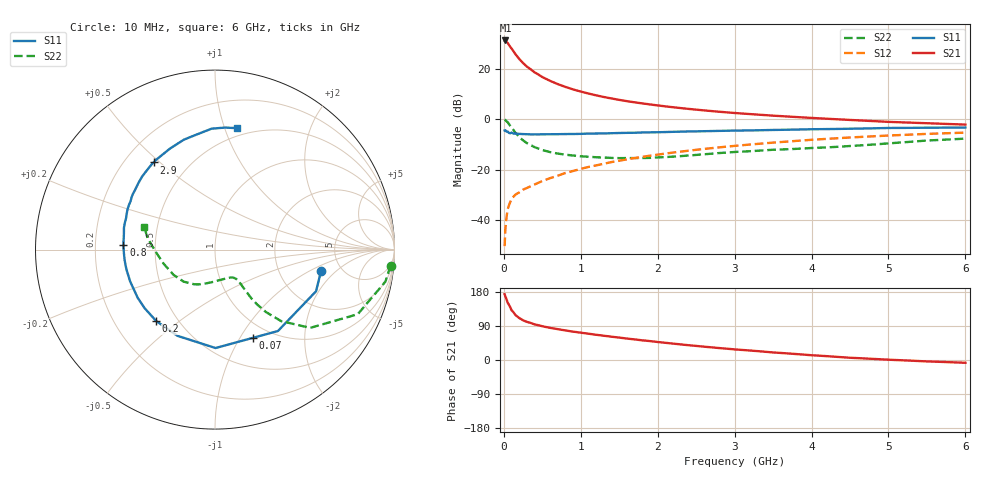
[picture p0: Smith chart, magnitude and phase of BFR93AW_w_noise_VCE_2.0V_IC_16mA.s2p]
! Infineon Technologies  Discrete & RF Semiconductors
! BFR93AW
! VCE =  2.0 V,  IC =  16 mA
! Common Emitter S-Parameters:  Jan 2017
# GHz  S  MA  R  50
!  f  S11  S21  S12  S22
! GHz  MAG  ANG  MAG  ANG  MAG  ANG  MAG  ANG
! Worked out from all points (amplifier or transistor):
!   77 points, 10 MHz to 6 GHz, reference 50 ohm
!   highest |S21| = 31.2 dB at 20 MHz (marker M1)
!   |S21| within 3 dB of that: start of sweep to 95.23 MHz
!   unconditionally stable (mu >= 1): 655.2 MHz to 2.229 GHz
!   at 130 MHz: K = 0.42, MSG = 28.6 dB, |S12| = -30.5 dB
!   at 2.2 GHz: K = 1.00, MAG = 8.7 dB, |S12| = -13.1 dB
!   at 6 GHz: K = 0.91, MSG = 1.6 dB, |S12| = -5.3 dB
!   lowest NFmin = 1.41 dB at 450 MHz
!   S11 on the Smith chart (normalised r, x): 10 MHz: 3.52, -1.30; 70 MHz: 0.83, -1.14; 200 MHz: 0.38, -0.41; 800 MHz: 0.32, +0.02; 2.9 GHz: 0.32, +0.48; 6 GHz: 0.43, +1.10
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0.01  0.6029 -11.2  36.23 173.7  0.0031 90.7  0.9826 -5.2
0.02  0.609 -22.4  36.26 167.7  0.0067 85.0  0.9663 -10.6
0.05  0.5733 -52.3  32.33 151.1  0.0166 69.2  0.8733 -24.3
0.07  0.5351 -66.7  29.05 144.4  0.0205 63.9  0.7925 -29.5
0.1  0.5484 -89.7  25.13 131.3  0.0265 58.9  0.6868 -39.4
0.15  0.524 -113.5  19.5 118.9  0.0324 53.9  0.5439 -47.2
0.2  0.5155 -129.4  15.62 110.8  0.0359 53.9  0.4489 -50.8
0.25  0.5102 -140.3  12.97 104.8  0.0407 53.4  0.384 -52.5
0.3  0.5074 -148.2  11.02 100.6  0.0439 54.4  0.3376 -53.3
0.4  0.5049 -159.5  8.484 93.9  0.0514 57.6  0.281 -53.3
0.5  0.5057 -167.5  6.858 89.1  0.0601 59.9  0.2471 -53.2
0.6  0.5071 -173.5  5.774 84.9  0.0685 61.3  0.2249 -53.2
0.7  0.5082 -178.4  4.975 81.4  0.0767 63.4  0.2102 -53.5
0.8  0.5112 177.1  4.376 78.0  0.0868 64.7  0.2001 -54.3
1.1  0.5218 166.4  3.235 69.4  0.1143 65.3  0.1817 -59.0
1.5  0.5362 155.3  2.421 59.1  0.1516 64.6  0.1707 -70.1
2.1  0.56 141.2  1.805 45.4  0.2101 61.2  0.1792 -92.3
2.9  0.5941 125.2  1.372 29.8  0.2884 54.4  0.2203 -118.6
3.1  0.6006 121.4  1.301 26.5  0.3076 52.4  0.2297 -124.3
4.1  0.6386 104.3  1.046 11.4  0.4019 42.0  0.2742 -152.3
5.1  0.675 90.3  0.879 -0.1  0.4849 30.6  0.3426 178.7
6  0.6875 79.8  0.786 -7.4  0.5461 20.4  0.4154 162.0
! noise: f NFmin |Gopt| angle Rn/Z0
0.45  1.41  0.12  146  0.13
0.9  1.69  0.23  168  0.14
1.9  2.69  0.47  -141  0.21
2.4  3.31  0.54  -127  0.41
